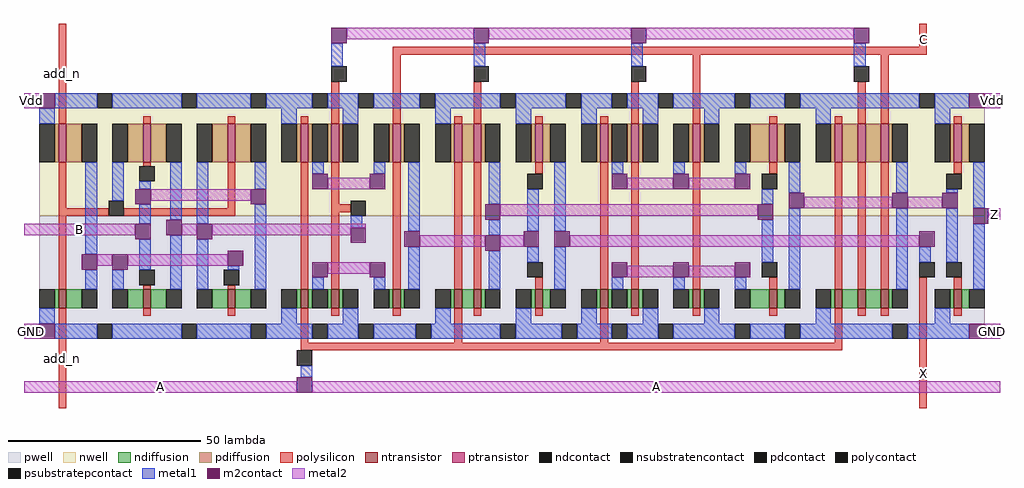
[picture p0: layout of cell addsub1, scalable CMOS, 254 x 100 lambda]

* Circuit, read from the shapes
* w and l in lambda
.subckt addsub1 A B C GND Vdd X Z add_n
M1 n1 add_n GND GND nfet w=5 l=2
M2 n2 B n1 GND nfet w=5 l=2
M3 B n1 n2 GND nfet w=5 l=2
M4 n3 A GND GND nfet w=5 l=2
M5 GND n2 n3 GND nfet w=5 l=2
M6 n4 C n3 GND nfet w=5 l=2
M7 n5 A GND GND nfet w=5 l=2
M8 n4 n2 n5 GND nfet w=5 l=2
M9 X n4 GND GND nfet w=5 l=2
M10 n6 A GND GND nfet w=5 l=2
M11 GND n2 n6 GND nfet w=5 l=2
M12 GND C n6 GND nfet w=5 l=2
M13 n7 n4 n6 GND nfet w=5 l=2
M14 n8 A GND GND nfet w=5 l=2
M15 n9 n2 n8 GND nfet w=5 l=2
M16 n7 C n9 GND nfet w=5 l=2
M17 Z n7 GND GND nfet w=5 l=2
M18 n1 add_n Vdd Vdd pfet w=10 l=2
M19 n2 B add_n Vdd pfet w=10 l=2
M20 B add_n n2 Vdd pfet w=10 l=2
M21 n10 A Vdd Vdd pfet w=10 l=2
M22 Vdd n2 n10 Vdd pfet w=10 l=2
M23 n4 C n10 Vdd pfet w=10 l=2
M24 n11 A Vdd Vdd pfet w=10 l=2
M25 n4 n2 n11 Vdd pfet w=10 l=2
M26 X n4 Vdd Vdd pfet w=10 l=2
M27 n12 A Vdd Vdd pfet w=10 l=2
M28 Vdd n2 n12 Vdd pfet w=10 l=2
M29 Vdd C n12 Vdd pfet w=10 l=2
M30 n7 n4 n12 Vdd pfet w=10 l=2
M31 n13 A Vdd Vdd pfet w=10 l=2
M32 n14 n2 n13 Vdd pfet w=10 l=2
M33 n7 C n14 Vdd pfet w=10 l=2
M34 Z n7 Vdd Vdd pfet w=10 l=2
.ends

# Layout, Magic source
magic
tech scmos
<< pwell >>
rect -109 26 137 58
<< nwell >>
rect -109 58 137 90
<< polysilicon >>
rect -104 82 -102 108
rect 120 102 122 108
rect -17 100 122 102
rect -82 82 -80 84
rect -60 82 -58 84
rect -41 82 -39 84
rect -33 82 -31 93
rect -17 82 -15 100
rect -1 82 1 84
rect 4 82 6 93
rect 20 82 22 84
rect 37 82 39 84
rect 45 82 47 93
rect 61 82 63 100
rect 81 82 83 84
rect 98 82 100 84
rect 104 82 106 93
rect 110 82 112 100
rect 129 82 131 84
rect -104 60 -102 72
rect -82 71 -80 72
rect -104 58 -91 60
rect -60 60 -58 72
rect -87 58 -58 60
rect -104 39 -102 58
rect -82 39 -80 40
rect -60 39 -58 40
rect -41 39 -39 72
rect -33 61 -31 72
rect -33 59 -28 61
rect -33 39 -31 59
rect -17 39 -15 72
rect -1 39 1 72
rect 4 39 6 72
rect 20 69 22 72
rect 20 39 22 42
rect 37 39 39 72
rect 45 39 47 72
rect 61 39 63 72
rect 81 69 83 72
rect 81 39 83 42
rect 98 39 100 72
rect 104 39 106 72
rect 110 39 112 72
rect 129 69 131 72
rect -104 8 -102 34
rect -82 32 -80 34
rect -60 32 -58 34
rect -41 25 -39 34
rect -33 32 -31 34
rect -17 32 -15 34
rect -1 25 1 34
rect 4 32 6 34
rect 20 32 22 34
rect 37 25 39 34
rect 45 32 47 34
rect 61 32 63 34
rect 81 32 83 34
rect 98 25 100 34
rect 104 32 106 34
rect 110 32 112 34
rect -41 23 100 25
rect 120 8 122 42
rect 129 39 131 42
rect 129 32 131 34
<< ndiffusion >>
rect -105 34 -104 39
rect -102 34 -98 39
rect -86 34 -82 39
rect -80 34 -76 39
rect -64 34 -60 39
rect -58 34 -54 39
rect -42 34 -41 39
rect -39 34 -38 39
rect -34 34 -33 39
rect -31 34 -30 39
rect -18 34 -17 39
rect -15 34 -14 39
rect -2 34 -1 39
rect 1 34 4 39
rect 6 34 7 39
rect 19 34 20 39
rect 22 34 24 39
rect 36 34 37 39
rect 39 34 40 39
rect 44 34 45 39
rect 47 34 48 39
rect 60 34 61 39
rect 63 34 64 39
rect 76 34 81 39
rect 83 34 85 39
rect 97 34 98 39
rect 100 34 104 39
rect 106 34 110 39
rect 112 34 113 39
rect 128 34 129 39
rect 131 34 133 39
<< pdiffusion >>
rect -105 72 -104 82
rect -102 72 -98 82
rect -86 72 -82 82
rect -80 72 -76 82
rect -64 72 -60 82
rect -58 72 -54 82
rect -42 72 -41 82
rect -39 72 -38 82
rect -34 72 -33 82
rect -31 72 -30 82
rect -18 72 -17 82
rect -15 72 -14 82
rect -2 72 -1 82
rect 1 72 4 82
rect 6 72 7 82
rect 19 72 20 82
rect 22 72 24 82
rect 36 72 37 82
rect 39 72 40 82
rect 44 72 45 82
rect 47 72 48 82
rect 60 72 61 82
rect 63 72 64 82
rect 76 72 81 82
rect 83 72 85 82
rect 97 72 98 82
rect 100 72 104 82
rect 106 72 110 82
rect 112 72 113 82
rect 128 72 129 82
rect 131 72 133 82
<< metal1 >>
rect -33 97 -30 103
rect 4 97 7 103
rect 45 97 48 103
rect 103 97 106 103
rect -105 86 -94 90
rect -90 86 -72 90
rect -68 86 -54 90
rect -50 86 -38 90
rect -34 86 -26 90
rect -22 86 -10 90
rect -6 86 11 90
rect 15 86 28 90
rect 32 86 40 90
rect 44 86 52 90
rect 56 86 72 90
rect 76 86 85 90
rect 89 86 120 90
rect 124 86 133 90
rect -109 82 -105 86
rect -46 82 -42 86
rect -30 82 -26 86
rect -6 82 -2 86
rect 15 82 19 86
rect 32 82 36 86
rect 48 82 52 86
rect 64 82 68 86
rect 93 82 97 86
rect 124 82 128 86
rect -97 48 -94 72
rect -90 62 -87 72
rect -83 65 -80 67
rect -83 56 -80 61
rect -75 57 -72 72
rect -97 39 -94 44
rect -83 44 -80 52
rect -90 39 -87 44
rect -75 39 -72 53
rect -68 56 -65 72
rect -53 65 -50 72
rect -38 69 -35 72
rect -22 69 -19 72
rect -68 39 -65 52
rect -60 44 -57 45
rect -53 39 -50 61
rect -28 55 -25 58
rect -13 54 -10 72
rect 8 61 11 72
rect 8 53 11 57
rect 18 54 21 65
rect -38 39 -35 42
rect -22 39 -19 42
rect -13 39 -10 50
rect 8 39 11 49
rect 18 46 21 50
rect 25 54 28 72
rect 40 69 43 72
rect 56 69 59 72
rect 72 69 75 72
rect 79 61 82 65
rect 25 39 28 50
rect 79 46 82 57
rect 86 64 89 72
rect 114 64 117 72
rect 127 64 130 65
rect 40 39 43 42
rect 56 39 59 42
rect 72 39 75 42
rect 86 39 89 60
rect 114 39 117 60
rect 120 46 123 50
rect 127 46 130 60
rect 134 60 137 72
rect 134 39 137 56
rect -109 30 -105 34
rect -46 30 -42 34
rect -30 30 -26 34
rect -6 30 -2 34
rect 15 30 19 34
rect 32 30 36 34
rect 48 30 52 34
rect 64 30 68 34
rect 93 30 97 34
rect 124 30 128 34
rect -105 26 -94 30
rect -90 26 -72 30
rect -68 26 -54 30
rect -50 26 -38 30
rect -34 26 -26 30
rect -22 26 -11 30
rect -7 26 11 30
rect 15 26 27 30
rect 31 26 40 30
rect 44 26 52 30
rect 56 26 72 30
rect 76 26 85 30
rect 89 26 113 30
rect 117 26 133 30
rect -41 16 -38 19
<< metal2 >>
rect -29 104 4 107
rect 8 104 45 107
rect 49 104 103 107
rect -113 86 -109 90
rect 137 86 141 90
rect -34 65 -23 68
rect 44 65 56 68
rect 60 65 72 68
rect -80 62 -54 65
rect 11 58 78 61
rect 90 60 113 63
rect 117 60 126 63
rect -113 53 -84 56
rect 138 57 141 60
rect -72 53 -68 56
rect -64 55 -24 56
rect -64 53 -28 55
rect -10 50 7 53
rect 11 50 17 53
rect 29 50 120 53
rect -94 45 -90 48
rect -86 45 -60 48
rect -34 43 -23 46
rect 44 42 56 45
rect 60 42 72 45
rect -113 26 -109 30
rect 137 26 141 30
rect -113 12 -42 15
rect -38 12 141 15
<< ntransistor >>
rect -104 34 -102 39
rect -82 34 -80 39
rect -60 34 -58 39
rect -41 34 -39 39
rect -33 34 -31 39
rect -17 34 -15 39
rect -1 34 1 39
rect 4 34 6 39
rect 20 34 22 39
rect 37 34 39 39
rect 45 34 47 39
rect 61 34 63 39
rect 81 34 83 39
rect 98 34 100 39
rect 104 34 106 39
rect 110 34 112 39
rect 129 34 131 39
<< ptransistor >>
rect -104 72 -102 82
rect -82 72 -80 82
rect -60 72 -58 82
rect -41 72 -39 82
rect -33 72 -31 82
rect -17 72 -15 82
rect -1 72 1 82
rect 4 72 6 82
rect 20 72 22 82
rect 37 72 39 82
rect 45 72 47 82
rect 61 72 63 82
rect 81 72 83 82
rect 98 72 100 82
rect 104 72 106 82
rect 110 72 112 82
rect 129 72 131 82
<< polycontact >>
rect -33 93 -29 97
rect 4 93 8 97
rect 45 93 49 97
rect 103 93 107 97
rect -83 67 -79 71
rect -91 58 -87 62
rect -83 40 -79 44
rect -61 40 -57 44
rect -28 58 -24 62
rect 18 65 22 69
rect 18 42 22 46
rect 79 65 83 69
rect 79 42 83 46
rect 127 65 131 69
rect 120 42 124 46
rect 127 42 131 46
rect -42 19 -38 23
<< ndcontact >>
rect -109 34 -105 39
rect -98 34 -94 39
rect -90 34 -86 39
rect -76 34 -72 39
rect -68 34 -64 39
rect -54 34 -50 39
rect -46 34 -42 39
rect -38 34 -34 39
rect -30 34 -26 39
rect -22 34 -18 39
rect -14 34 -10 39
rect -6 34 -2 39
rect 7 34 11 39
rect 15 34 19 39
rect 24 34 28 39
rect 32 34 36 39
rect 40 34 44 39
rect 48 34 52 39
rect 56 34 60 39
rect 64 34 68 39
rect 72 34 76 39
rect 85 34 89 39
rect 93 34 97 39
rect 113 34 117 39
rect 124 34 128 39
rect 133 34 137 39
<< pdcontact >>
rect -109 72 -105 82
rect -98 72 -94 82
rect -90 72 -86 82
rect -76 72 -72 82
rect -68 72 -64 82
rect -54 72 -50 82
rect -46 72 -42 82
rect -38 72 -34 82
rect -30 72 -26 82
rect -22 72 -18 82
rect -14 72 -10 82
rect -6 72 -2 82
rect 7 72 11 82
rect 15 72 19 82
rect 24 72 28 82
rect 32 72 36 82
rect 40 72 44 82
rect 48 72 52 82
rect 56 72 60 82
rect 64 72 68 82
rect 72 72 76 82
rect 85 72 89 82
rect 93 72 97 82
rect 113 72 117 82
rect 124 72 128 82
rect 133 72 137 82
<< m2contact >>
rect -33 103 -29 107
rect 4 103 8 107
rect 45 103 49 107
rect 103 103 107 107
rect -109 86 -105 90
rect 133 86 137 90
rect -84 61 -80 65
rect -84 52 -80 56
rect -76 53 -72 57
rect -98 44 -94 48
rect -90 44 -86 48
rect -38 65 -34 69
rect -23 65 -19 69
rect -54 61 -50 65
rect -68 52 -64 56
rect -60 45 -56 49
rect -28 51 -24 55
rect 7 57 11 61
rect -14 50 -10 54
rect -38 42 -34 46
rect -23 42 -19 46
rect 7 49 11 53
rect 17 50 21 54
rect 40 65 44 69
rect 56 65 60 69
rect 72 65 76 69
rect 78 57 82 61
rect 25 50 29 54
rect 86 60 90 64
rect 113 60 117 64
rect 126 60 130 64
rect 40 42 44 46
rect 56 42 60 46
rect 72 42 76 46
rect 120 50 124 54
rect 134 56 138 60
rect -109 26 -105 30
rect 133 26 137 30
rect -42 12 -38 16
<< psubstratepcontact >>
rect -94 26 -90 30
rect -72 26 -68 30
rect -54 26 -50 30
rect -38 26 -34 30
rect -26 26 -22 30
rect -11 26 -7 30
rect 11 26 15 30
rect 27 26 31 30
rect 40 26 44 30
rect 52 26 56 30
rect 72 26 76 30
rect 85 26 89 30
rect 113 26 117 30
<< nsubstratencontact >>
rect -94 86 -90 90
rect -72 86 -68 90
rect -54 86 -50 90
rect -38 86 -34 90
rect -26 86 -22 90
rect -10 86 -6 90
rect 11 86 15 90
rect 28 86 32 90
rect 40 86 44 90
rect 52 86 56 90
rect 72 86 76 90
rect 85 86 89 90
rect 120 86 124 90
<< labels >>
rlabel polysilicon -104 82 -102 108 1 add_n
rlabel polysilicon -104 8 -102 34 5 add_n
rlabel metal2 -113 53 -84 56 7 B
rlabel polysilicon 120 8 122 26 5 X
rlabel polysilicon 120 100 122 108 1 C
rlabel metal2 138 57 141 60 3 Z
rlabel metal2 -113 86 -109 90 7 Vdd
rlabel metal2 -113 26 -109 30 7 GND
rlabel metal2 137 86 141 90 3 Vdd
rlabel metal2 137 26 141 30 3 GND
rlabel metal2 -113 12 -42 15 7 A
rlabel metal2 -38 12 141 15 3 A
<< end >>
